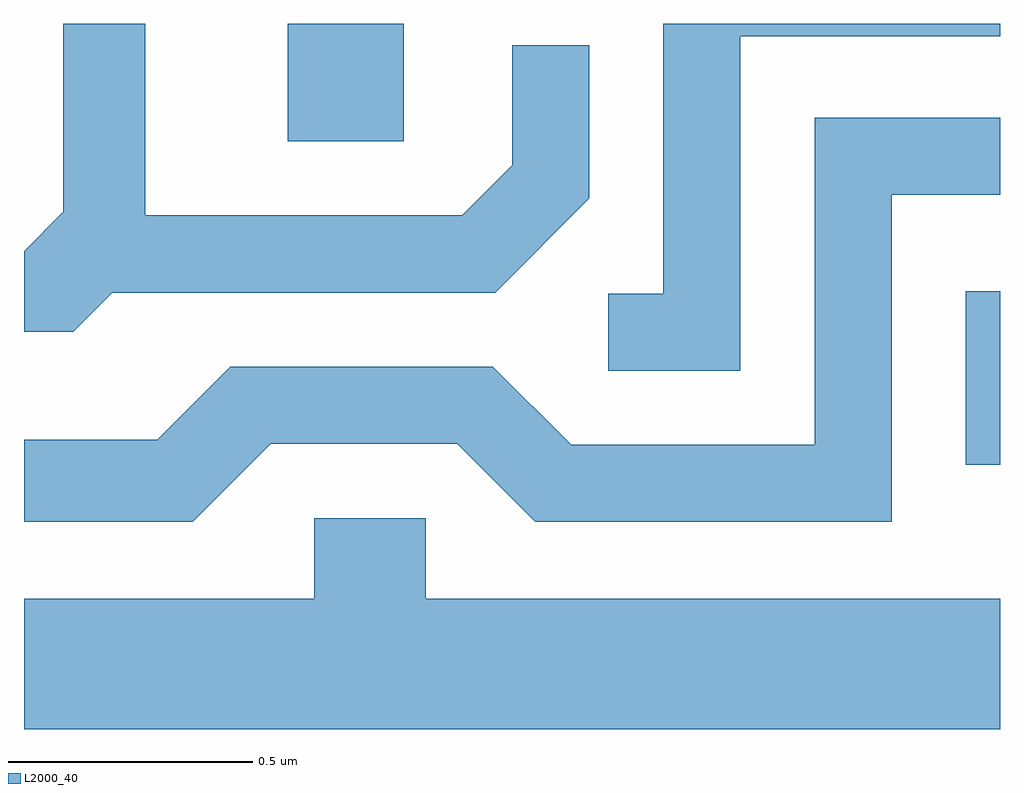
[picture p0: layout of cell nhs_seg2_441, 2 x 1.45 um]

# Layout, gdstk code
import gdstk
lib = gdstk.Library(unit=1e-6, precision=1e-09)
def R(c, l, rs):  # rectangles x0, y0, x1, y1
    for r in rs: c.add(gdstk.rectangle(r[:2], r[2:], *l))
def P(c, l, *ps):  # polygons
    for p in ps: c.add(gdstk.Polygon(p, *l))
L2000_40 = (2000, 40)

nhs_seg2_441 = lib.new_cell('nhs_seg2_441')
R(nhs_seg2_441, L2000_40, [(190.541,1008.898,190.611,1009.254), (189.151,1009.561,189.389,1009.802)])
P(nhs_seg2_441, L2000_40, [(188.792,1009.251),(189.577,1009.251),(189.769,1009.444),(189.769,1009.758),(189.611,1009.758),(189.611,1009.512),(189.509,1009.409),(188.859,1009.409),(188.859,1009.802),(188.691,1009.802),(188.691,1009.417),(188.611,1009.336),(188.611,1009.171),(188.712,1009.171)],
  [(190.079,1009.776),(190.611,1009.776),(190.611,1009.802),(189.921,1009.802),(189.921,1009.249),(189.808,1009.249),(189.808,1009.091),(190.079,1009.091)],
  [(189.117,1008.941),(189.499,1008.941),(189.659,1008.781),(190.389,1008.781),(190.389,1009.451),(190.611,1009.451),(190.611,1009.609),(190.231,1009.609),(190.231,1008.939),(189.732,1008.939),(189.572,1009.099),(189.034,1009.099),(188.884,1008.949),(188.611,1008.949),(188.611,1008.781),(188.957,1008.781)],
  [(190.611,1008.624),(189.434,1008.624),(189.434,1008.789),(189.206,1008.789),(189.206,1008.624),(188.611,1008.624),(188.611,1008.356),(190.611,1008.356)])

lib.write_gds('nhs_seg2_441.gds')
